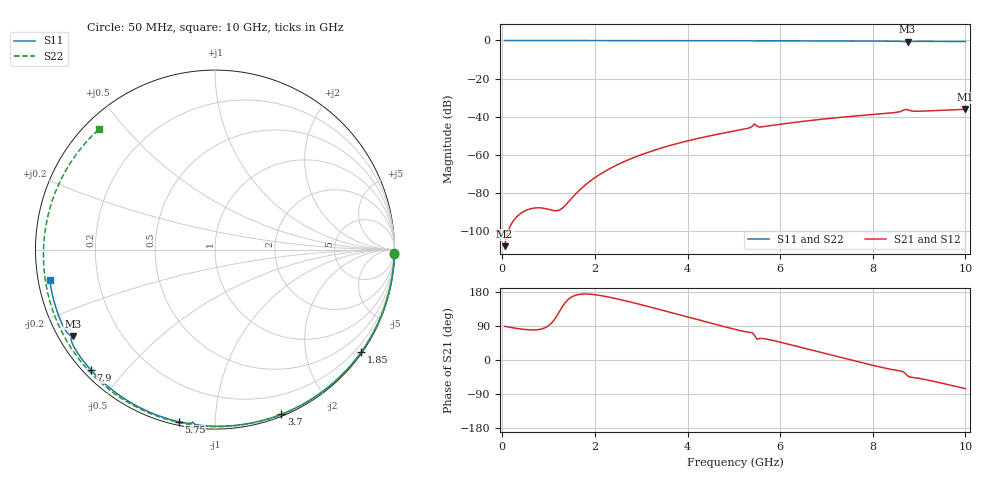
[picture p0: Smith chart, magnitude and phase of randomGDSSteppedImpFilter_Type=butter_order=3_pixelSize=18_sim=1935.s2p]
! freq	dB(S11)	phase(S11)	dB(S12)	phase(S12)
!  dB(S21)	phase(S21)	dB(S22)	phase(S22)
!S-par simulation data
#  GHz  S  DB  R 50
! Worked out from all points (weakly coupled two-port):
!   200 points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, 50 MHz to 10 GHz, reference 50 ohm
!   highest |S21| = -36.10 dB at 10 GHz (marker M1); lowest = -107.8 dB at 50 MHz (marker M2)
!   lowest |S11| = -0.7 dB at 8.75 GHz (marker M3), VSWR 26.45, Z = 2.04 - j14 ohm
!   |S11| at or under -10 dB: nowhere
!   |S22| runs from -0.6 to 0.0 dB; largest |S21 - S12| = 0
!   S11 on the Smith chart (normalised r, x): 50 MHz: open; 1.85 GHz: 0.03, -3.17; 3.7 GHz: 0.02, -1.48; 5.75 GHz: 0.02, -0.81; 7.9 GHz: 0.02, -0.41; 10 GHz: 0.03, -0.09
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0.05  -0.00 -1.0  -107.78 88.9  -107.78 88.9  -0.00 -1.3
0.8  -0.02 -15.3  -87.68 80.6  -87.68 80.6  -0.03 -21.0
1.6  -0.04 -30.4  -80.02 171.4  -80.02 171.4  -0.05 -41.4
1.75  -0.04 -33.1  -76.58 174.1  -76.58 174.1  -0.06 -45.2
1.85  -0.04 -35.0  -74.57 174.0  -74.57 174.0  -0.06 -47.6
2.15  -0.05 -40.5  -69.53 169.5  -69.53 169.5  -0.07 -55.0
2.5  -0.06 -46.9  -64.95 160.8  -64.95 160.8  -0.08 -63.5
2.9  -0.07 -54.1  -60.78 149.0  -60.78 149.0  -0.09 -72.9
3.4  -0.08 -62.9  -56.60 133.1  -56.60 133.1  -0.11 -84.4
3.7  -0.09 -68.1  -54.50 123.4  -54.50 123.4  -0.12 -91.1
4.35  -0.11 -79.1  -50.65 102.3  -50.65 102.3  -0.15 -105.3
5.05  -0.14 -90.8  -47.28 80.1  -47.28 80.1  -0.18 -120.0
5.35  -0.17 -95.8  -45.65 72.8  -45.65 72.8  -0.19 -126.2
5.45  -0.28 -97.4  -43.70 64.1  -43.70 64.1  -0.20 -128.2
5.55  -0.18 -98.5  -45.36 56.5  -45.36 56.5  -0.21 -130.3
5.75  -0.18 -101.9  -44.77 54.2  -44.77 54.2  -0.22 -134.4
6.7  -0.23 -117.0  -41.81 25.5  -41.81 25.5  -0.28 -153.6
7.9  -0.33 -135.9  -39.00 -11.1  -39.00 -11.1  -0.39 -178.3
8.35  -0.38 -143.2  -38.09 -23.6  -38.09 -23.6  -0.43 172.1
8.75  -0.66 -148.8  -36.23 -41.6  -36.23 -41.6  -0.47 163.4
8.95  -0.48 -151.8  -37.11 -47.5  -37.11 -47.5  -0.50 158.8
10  -0.57 -169.6  -36.10 -75.5  -36.10 -75.5  -0.62 133.8
